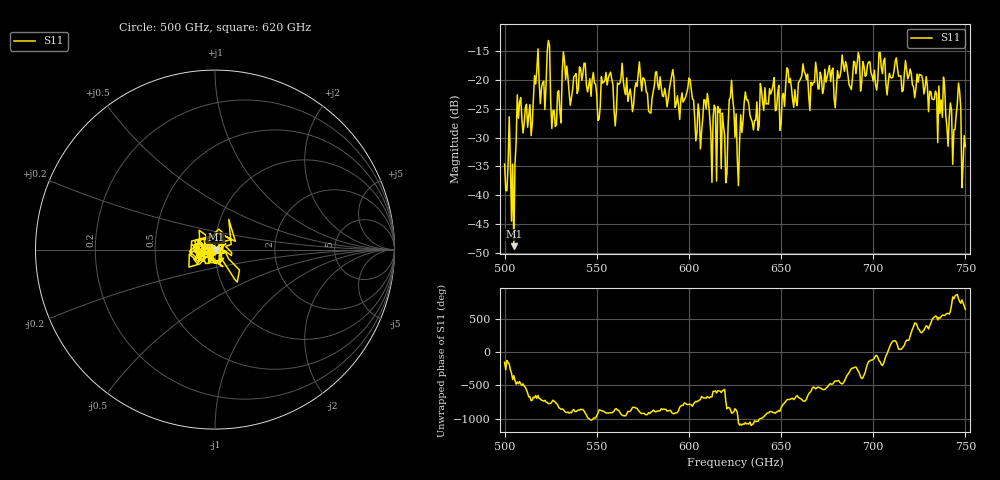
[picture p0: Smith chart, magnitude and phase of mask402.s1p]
!Created with skrf (http://scikit-rf.org).
# GHz S MA R 50.0
!freq magS11 angS11
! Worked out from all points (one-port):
!   401 points, 500 GHz to 750 GHz, reference 50 ohm
!   lowest |S11| = -48.8 dB at 505 GHz (marker M1), VSWR 1.01, Z = 50.4 + j0.0261 ohm
!   |S11| at or under -10 dB: start of sweep to end of sweep
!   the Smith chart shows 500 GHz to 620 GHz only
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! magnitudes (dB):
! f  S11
! 500 GHz  -34.6
! 505 GHz  -48.8
! 508.1 GHz  -23.9
! 513.8 GHz  -24.3
! 516.9 GHz  -20.7
! 523.8 GHz  -13.2
! 526.9 GHz  -25.3
! 531.2 GHz  -18.7
! 542.5 GHz  -18.9
! 550.6 GHz  -27.0
! 562.5 GHz  -20.6
! 578.8 GHz  -25.7
! 590.6 GHz  -19.4
! 593.8 GHz  -22.8
! 600 GHz  -19.7
! 605 GHz  -24.2
! 609.4 GHz  -25.0
! 620 GHz  -37.8
! 623.1 GHz  -20.1
! 625 GHz  -29.9
! 627.5 GHz  -30.6
! 631.2 GHz  -23.5
! 656.2 GHz  -23.4
! 687.5 GHz  -21.2
! 718.8 GHz  -19.8
! 741.9 GHz  -24.0
! 746.2 GHz  -20.6
! 750 GHz  -31.6
